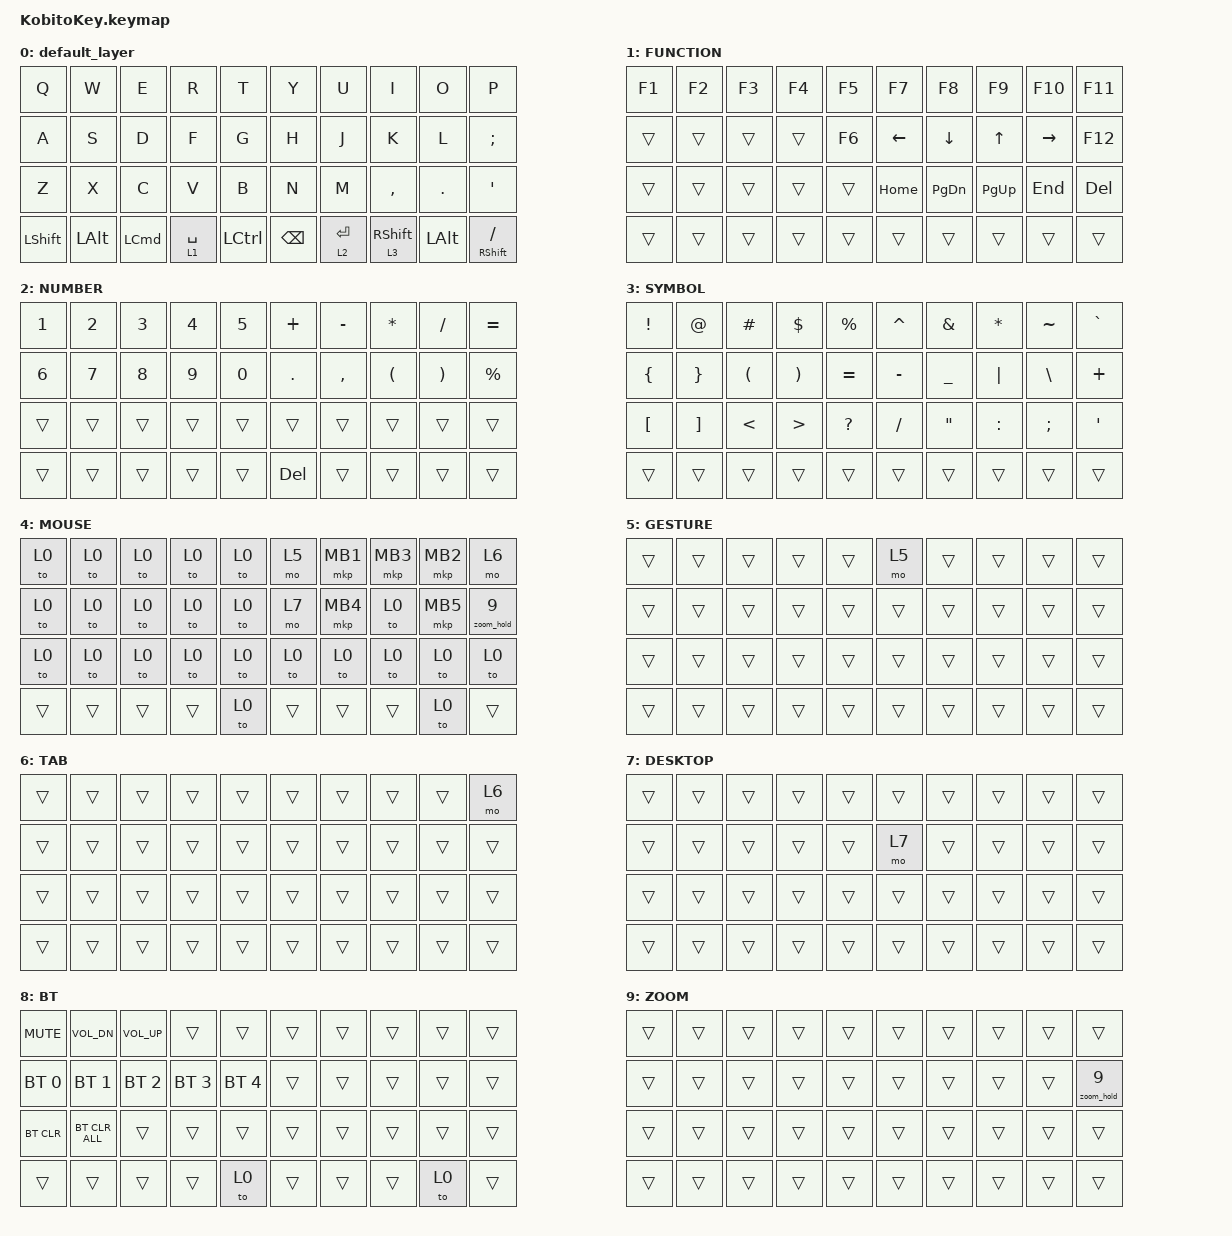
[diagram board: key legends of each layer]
#include <input/processors.dtsi>
#include <behaviors.dtsi>
#include <dt-bindings/zmk/bt.h>
#include <dt-bindings/zmk/keys.h>
#include <dt-bindings/zmk/pointing.h>

/ {
    behaviors {
        /* 押している間: Layer N をアクティブ + LCMD を保持
         * 離した時: Layer N を解除 + LCMD を解除
         * 用途: Layer 9 で左トラックボール=スクロールを Cmd+スクロールに変換し、
         *       macOS / Figma / ブラウザでピンチ風の連続ズームを実現 */
        zoom_hold: zoom_hold {
            compatible = "zmk,behavior-macro-one-param";
            #binding-cells = <1>;
            bindings
                = <&macro_press &kp LCMD>
                , <&macro_press &mo MACRO_PLACEHOLDER>
                , <&macro_pause_for_release>
                , <&macro_release &mo MACRO_PLACEHOLDER>
                , <&macro_release &kp LCMD>
                ;
        };
    };

    combos {
        compatible = "zmk,combos";

        combo_eisu {
            timeout-ms = <50>;
            key-positions = <12 13>;
            bindings = <&kp LANG2>;
        };

        combo_kana {
            timeout-ms = <50>;
            key-positions = <16 17>;
            bindings = <&kp LANG1>;
        };

        combo_esc {
            timeout-ms = <50>;
            key-positions = <0 1>;
            bindings = <&kp ESC>;
        };

        combo_tab {
            timeout-ms = <50>;
            key-positions = <10 11>;
            bindings = <&kp TAB>;
        };

        combo_bt {
            timeout-ms = <50>;
            key-positions = <35 37>;
            bindings = <&to 8>;
        };
    };

    keymap {
        compatible = "zmk,keymap";

        default_layer {
            bindings = <
&kp Q      &kp W     &kp E     &kp R        &kp T      &kp Y       &kp U        &kp I      &kp O      &kp P
&kp A      &kp S     &kp D     &kp F        &kp G      &kp H       &kp J        &kp K      &kp L      &kp SEMI
&kp Z      &kp X     &kp C     &kp V        &kp B      &kp N       &kp M        &kp COMMA  &kp DOT    &kp APOS
&kp LSHFT  &kp LALT  &kp LCMD  &lt 1 SPACE  &kp LCTRL  &kp BSPC  &lt 2 ENTER  &lt 3 RSHFT  &kp LALT  &mt RSHFT SLASH
            >;
        };

        layer1 {
            label = "FUNCTION";
            bindings = <
&kp F1  &kp F2  &kp F3  &kp F4  &kp F5   &kp F7   &kp F8    &kp F9    &kp F10   &kp F11
&trans  &trans  &trans  &trans  &kp F6   &kp LEFT &kp DOWN  &kp UP    &kp RIGHT &kp F12
&trans  &trans  &trans  &trans  &trans   &kp HOME &kp PG_DN &kp PG_UP &kp END   &kp DEL
&trans  &trans  &trans  &trans  &trans   &trans   &trans    &trans    &trans    &trans
            >;
        };

        layer2 {
            label = "NUMBER";
            bindings = <
&kp N1  &kp N2  &kp N3  &kp N4  &kp N5  &kp PLUS   &kp MINUS  &kp ASTRK  &kp SLASH  &kp EQUAL
&kp N6  &kp N7  &kp N8  &kp N9  &kp N0  &kp DOT    &kp COMMA  &kp LPAR   &kp RPAR   &kp PRCNT
&trans  &trans  &trans  &trans  &trans  &trans     &trans     &trans     &trans     &trans
&trans  &trans  &trans  &trans  &trans  &kp DEL    &trans     &trans     &trans     &trans
            >;
        };

        layer3 {
            label = "SYMBOL";
            bindings = <
&kp EXCL  &kp AT    &kp HASH  &kp DLLR  &kp PRCNT  &kp CARET  &kp AMPS   &kp ASTRK  &kp TILDE  &kp GRAVE
&kp LBRC  &kp RBRC  &kp LPAR  &kp RPAR  &kp EQUAL  &kp MINUS  &kp UNDER  &kp PIPE   &kp BSLH   &kp PLUS
&kp LBKT  &kp RBKT  &kp LT    &kp GT    &kp QMARK  &kp SLASH  &kp DQT    &kp COLON  &kp SEMI   &kp APOS
&trans    &trans    &trans    &trans    &trans     &trans     &trans     &trans     &trans     &trans
            >;
        };

        layer4 {
            label = "MOUSE";
            bindings = <
&to 0         &to 0         &to 0         &to 0   &to 0   &mo 5   &mkp MB1  &mkp MB3  &mkp MB2  &mo 6
&to 0         &to 0         &to 0         &to 0   &to 0   &mo 7   &mkp MB4  &to 0     &mkp MB5  &zoom_hold 9
&to 0         &to 0         &to 0         &to 0   &to 0   &to 0   &to 0     &to 0     &to 0     &to 0
&trans        &trans        &trans        &trans   &to 0  &trans  &trans    &trans    &to 0     &trans
            >;
        };

        layer5 {
            label = "GESTURE";
            bindings = <
&trans  &trans  &trans  &trans  &trans  &mo 5   &trans  &trans  &trans  &trans
&trans  &trans  &trans  &trans  &trans  &trans  &trans  &trans  &trans  &trans
&trans  &trans  &trans  &trans  &trans  &trans  &trans  &trans  &trans  &trans
&trans  &trans  &trans  &trans  &trans  &trans  &trans  &trans  &trans  &trans
            >;
        };

        layer6 {
            label = "TAB";
            bindings = <
&trans  &trans  &trans  &trans  &trans  &trans  &trans  &trans  &trans  &mo 6
&trans  &trans  &trans  &trans  &trans  &trans  &trans  &trans  &trans  &trans
&trans  &trans  &trans  &trans  &trans  &trans  &trans  &trans  &trans  &trans
&trans  &trans  &trans  &trans  &trans  &trans  &trans  &trans  &trans  &trans
            >;
        };

        layer7 {
            label = "DESKTOP";
            bindings = <
&trans  &trans  &trans  &trans  &trans  &trans  &trans  &trans  &trans  &trans
&trans  &trans  &trans  &trans  &trans  &mo 7   &trans  &trans  &trans  &trans
&trans  &trans  &trans  &trans  &trans  &trans  &trans  &trans  &trans  &trans
&trans  &trans  &trans  &trans  &trans  &trans  &trans  &trans  &trans  &trans
            >;
        };

        layer8 {
            label = "BT";
            bindings = <
&kp C_MUTE    &kp C_VOL_DN  &kp C_VOL_UP  &trans  &trans          &trans  &trans  &trans  &trans  &trans
&bt BT_SEL 0  &bt BT_SEL 1  &bt BT_SEL 2  &bt BT_SEL 3  &bt BT_SEL 4  &trans  &trans  &trans  &trans  &trans
&bt BT_CLR    &bt BT_CLR_ALL &trans        &trans        &trans        &trans  &trans  &trans  &trans  &trans
&trans        &trans         &trans        &trans        &to 0         &trans  &trans  &trans  &to 0   &trans
            >;
        };

        layer9 {
            label = "ZOOM";
            bindings = <
&trans  &trans  &trans  &trans  &trans  &trans  &trans  &trans  &trans  &trans
&trans  &trans  &trans  &trans  &trans  &trans  &trans  &trans  &trans  &zoom_hold 9
&trans  &trans  &trans  &trans  &trans  &trans  &trans  &trans  &trans  &trans
&trans  &trans  &trans  &trans  &trans  &trans  &trans  &trans  &trans  &trans
            >;
        };
    };
};
